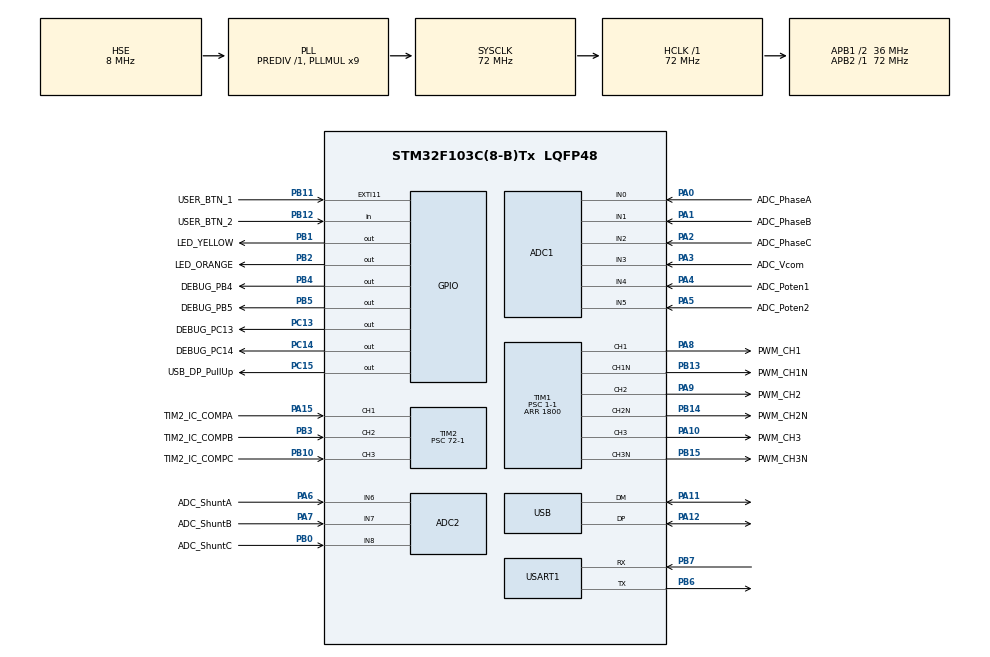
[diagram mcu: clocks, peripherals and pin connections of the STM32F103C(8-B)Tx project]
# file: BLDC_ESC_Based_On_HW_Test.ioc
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ADC1.Channel-10\#ChannelRegularConversion=ADC_CHANNEL_4
ADC1.Channel-11\#ChannelRegularConversion=ADC_CHANNEL_5
ADC1.Channel-17\#ChannelInjectedConversion=ADC_CHANNEL_0
ADC1.Channel-18\#ChannelInjectedConversion=ADC_CHANNEL_1
ADC1.Channel-23\#ChannelInjectedConversion=ADC_CHANNEL_2
ADC1.EnableAnalogWatchDog=false
ADC1.EnableInjectedConversion=ENABLE
ADC1.ExternalTrigInjecConv=ADC_EXTERNALTRIGINJECCONV_T1_TRGO
ADC1.InjNumberOfConversion=3
ADC1.InjectedOffset-17\#ChannelInjectedConversion=0
ADC1.InjectedOffset-18\#ChannelInjectedConversion=0
ADC1.InjectedOffset-23\#ChannelInjectedConversion=0
ADC1.InjectedRank-17\#ChannelInjectedConversion=1
ADC1.InjectedRank-18\#ChannelInjectedConversion=2
ADC1.InjectedRank-23\#ChannelInjectedConversion=3
ADC1.Mode=ADC_DUALMODE_INJECSIMULT
ADC1.NbrOfConversion=2
ADC1.NbrOfConversionFlag=1
ADC1.Rank-10\#ChannelRegularConversion=1
ADC1.Rank-11\#ChannelRegularConversion=2
ADC1.SamplingTime-10\#ChannelRegularConversion=ADC_SAMPLETIME_55CYCLES_5
ADC1.SamplingTime-11\#ChannelRegularConversion=ADC_SAMPLETIME_55CYCLES_5
ADC1.SamplingTime-17\#ChannelInjectedConversion=ADC_SAMPLETIME_1CYCLE_5
ADC1.SamplingTime-18\#ChannelInjectedConversion=ADC_SAMPLETIME_1CYCLE_5
ADC1.SamplingTime-23\#ChannelInjectedConversion=ADC_SAMPLETIME_1CYCLE_5
ADC1.master=1
ADC2.Channel-3\#ChannelInjectedConversion=ADC_CHANNEL_6
ADC2.Channel-4\#ChannelInjectedConversion=ADC_CHANNEL_7
ADC2.Channel-5\#ChannelInjectedConversion=ADC_CHANNEL_8
ADC2.EnableInjectedConversion=ENABLE
ADC2.EnableRegularConversion=DISABLE
ADC2.InjNumberOfConversion=3
ADC2.InjectedOffset-3\#ChannelInjectedConversion=0
ADC2.InjectedOffset-4\#ChannelInjectedConversion=0
ADC2.InjectedOffset-5\#ChannelInjectedConversion=0
ADC2.InjectedRank-3\#ChannelInjectedConversion=1
ADC2.InjectedRank-4\#ChannelInjectedConversion=2
ADC2.InjectedRank-5\#ChannelInjectedConversion=3
ADC2.Mode=ADC_DUALMODE_INJECSIMULT
ADC2.SamplingTime-3\#ChannelInjectedConversion=ADC_SAMPLETIME_1CYCLE_5
ADC2.SamplingTime-4\#ChannelInjectedConversion=ADC_SAMPLETIME_1CYCLE_5
ADC2.SamplingTime-5\#ChannelInjectedConversion=ADC_SAMPLETIME_1CYCLE_5
Dma.ADC1.0.Direction=DMA_PERIPH_TO_MEMORY
Dma.ADC1.0.Instance=DMA1_Channel1
Dma.ADC1.0.MemDataAlignment=DMA_MDATAALIGN_HALFWORD
Dma.ADC1.0.MemInc=DMA_MINC_ENABLE
Dma.ADC1.0.Mode=DMA_CIRCULAR
Dma.ADC1.0.PeriphDataAlignment=DMA_PDATAALIGN_HALFWORD
Dma.ADC1.0.PeriphInc=DMA_PINC_DISABLE
Dma.ADC1.0.Priority=DMA_PRIORITY_LOW
Dma.Request0=ADC1
Mcu.Family=STM32F1
Mcu.Name=STM32F103C(8-B)Tx
Mcu.Package=LQFP48
NVIC.ADC1_2_IRQn=true\:2\:0\:true\:false\:true\:true\:false\:true
NVIC.DMA1_Channel1_IRQn=true\:3\:0\:true\:false\:true\:true\:true\:true
NVIC.EXTI15_10_IRQn=true\:3\:0\:true\:false\:true\:true\:false\:true
NVIC.PriorityGroup=NVIC_PRIORITYGROUP_4
NVIC.TIM1_CC_IRQn=true\:3\:0\:true\:false\:true\:true\:false\:true
NVIC.TIM2_IRQn=true\:1\:0\:true\:false\:true\:true\:false\:true
NVIC.TIM3_IRQn=true\:0\:0\:true\:false\:true\:true\:false\:true
NVIC.TIM4_IRQn=true\:0\:0\:false\:false\:true\:true\:false\:true
NVIC.USART1_IRQn=true\:3\:0\:true\:false\:true\:true\:false\:true
NVIC.USB_LP_CAN1_RX0_IRQn=true\:0\:0\:false\:false\:true\:false\:true\:true
PA0-WKUP.GPIO_Label=ADC_PhaseA
PA0-WKUP.Signal=ADCx_IN0
PA1.GPIO_Label=ADC_PhaseB
PA1.Signal=ADCx_IN1
PA10.GPIO_Label=PWM_CH3
PA10.Signal=S_TIM1_CH3
PA11.Mode=Device
PA11.Signal=USB_DM
PA12.Mode=Device
PA12.Signal=USB_DP
PA13.Mode=Serial_Wire
PA13.Signal=SYS_JTMS-SWDIO
PA14.Mode=Serial_Wire
PA14.Signal=SYS_JTCK-SWCLK
PA15.GPIO_Label=TIM2_IC_COMPA
PA15.Signal=S_TIM2_CH1_ETR
PA2.GPIO_Label=ADC_PhaseC
PA2.Signal=ADCx_IN2
PA3.GPIO_Label=ADC_Vcom
PA3.Signal=ADCx_IN3
PA4.GPIO_Label=ADC_Poten1
PA4.Signal=ADCx_IN4
PA5.GPIO_Label=ADC_Poten2
PA5.Signal=ADCx_IN5
PA6.GPIO_Label=ADC_ShuntA
PA6.Signal=ADCx_IN6
PA7.GPIO_Label=ADC_ShuntB
PA7.Signal=ADCx_IN7
PA8.GPIO_Label=PWM_CH1
PA8.Signal=S_TIM1_CH1
PA9.GPIO_Label=PWM_CH2
PA9.Signal=S_TIM1_CH2
PB0.GPIO_Label=ADC_ShuntC
PB0.Signal=ADCx_IN8
PB1.GPIO_Label=LED_YELLOW
PB1.Signal=GPIO_Output
PB10.GPIO_Label=TIM2_IC_COMPC
PB10.Signal=S_TIM2_CH3
PB11.GPIO_Label=USER_BTN_1
PB11.GPIO_ModeDefaultEXTI=GPIO_MODE_IT_FALLING
PB11.Signal=GPXTI11
PB12.GPIO_Label=USER_BTN_2
PB12.Signal=GPIO_Input
PB13.GPIO_Label=PWM_CH1N
PB13.Mode=PWM Generation1 CH1 CH1N
PB13.Signal=TIM1_CH1N
PB14.GPIO_Label=PWM_CH2N
PB14.Mode=PWM Generation2 CH2 CH2N
PB14.Signal=TIM1_CH2N
PB15.GPIO_Label=PWM_CH3N
PB15.Mode=PWM Generation3 CH3 CH3N
PB15.Signal=TIM1_CH3N
PB2.GPIO_Label=LED_ORANGE
PB2.Signal=GPIO_Output
PB3.GPIO_Label=TIM2_IC_COMPB
PB3.Signal=S_TIM2_CH2
PB4.GPIO_Label=DEBUG_PB4
PB4.Signal=GPIO_Output
PB5.GPIO_Label=DEBUG_PB5
PB5.Signal=GPIO_Output
PB6.Mode=Asynchronous
PB6.Signal=USART1_TX
PB7.Mode=Asynchronous
PB7.Signal=USART1_RX
PC13-TAMPER-RTC.GPIO_Label=DEBUG_PC13
PC13-TAMPER-RTC.Signal=GPIO_Output
PC14-OSC32_IN.GPIO_Label=DEBUG_PC14
PC14-OSC32_IN.Signal=GPIO_Output
PC15-OSC32_OUT.GPIO_Label=USB_DP_PullUp
PC15-OSC32_OUT.Signal=GPIO_Output
PD0-OSC_IN.Mode=HSE-External-Oscillator
PD0-OSC_IN.Signal=RCC_OSC_IN
PD1-OSC_OUT.Mode=HSE-External-Oscillator
PD1-OSC_OUT.Signal=RCC_OSC_OUT
ProjectManager.HeapSize=0x200
ProjectManager.StackSize=0x400
ProjectManager.TargetToolchain=STM32CubeIDE
RCC.ADCPresc=RCC_ADCPCLK2_DIV6
RCC.AHBFreq_Value=72000000
RCC.APB1CLKDivider=RCC_HCLK_DIV2
RCC.APB1Freq_Value=36000000
RCC.APB1TimFreq_Value=72000000
RCC.APB2Freq_Value=72000000
RCC.APB2TimFreq_Value=72000000
RCC.HCLKFreq_Value=72000000
RCC.PLLMUL=RCC_PLL_MUL9
RCC.SYSCLKFreq_VALUE=72000000
RCC.SYSCLKSource=RCC_SYSCLKSOURCE_PLLCLK
RCC.USBFreq_Value=48000000
RCC.USBPrescaler=RCC_USBCLKSOURCE_PLL_DIV1_5
SH.ADCx_IN0.0=ADC1_IN0,IN0
SH.ADCx_IN1.0=ADC1_IN1,IN1
SH.ADCx_IN2.0=ADC1_IN2,IN2
SH.ADCx_IN3.0=ADC1_IN3,IN3
SH.ADCx_IN4.0=ADC1_IN4,IN4
SH.ADCx_IN5.0=ADC1_IN5,IN5
SH.ADCx_IN6.0=ADC2_IN6,IN6
SH.ADCx_IN7.0=ADC2_IN7,IN7
SH.ADCx_IN8.0=ADC2_IN8,IN8
SH.S_TIM1_CH1.0=TIM1_CH1,PWM Generation1 CH1 CH1N
SH.S_TIM1_CH2.0=TIM1_CH2,PWM Generation2 CH2 CH2N
SH.S_TIM1_CH3.0=TIM1_CH3,PWM Generation3 CH3 CH3N
SH.S_TIM2_CH1_ETR.0=TIM2_CH1,Input_Capture1_from_TI1
SH.S_TIM2_CH2.0=TIM2_CH2,Input_Capture2_from_TI2
SH.S_TIM2_CH3.0=TIM2_CH3,Input_Capture3_from_TI3
TIM1.Channel-PWM\ Generation1\ CH1\ CH1N=TIM_CHANNEL_1
TIM1.Channel-PWM\ Generation2\ CH2\ CH2N=TIM_CHANNEL_2
TIM1.Channel-PWM\ Generation3\ CH3\ CH3N=TIM_CHANNEL_3
TIM1.Channel-PWM\ Generation4\ No\ Output=TIM_CHANNEL_4
TIM1.CounterMode=TIM_COUNTERMODE_CENTERALIGNED1
TIM1.DeadTime=144
TIM1.OCMode_PWM-PWM\ Generation4\ No\ Output=TIM_OCMODE_PWM1
TIM1.Period=1800
TIM1.Prescaler=1-1
TIM1.Pulse-PWM\ Generation4\ No\ Output=1
TIM1.TIM_MasterOutputTrigger=TIM_TRGO_OC4REF
TIM2.AutoReloadPreload=TIM_AUTORELOAD_PRELOAD_DISABLE
TIM2.Channel-Input_Capture1_from_TI1=TIM_CHANNEL_1
TIM2.Channel-Input_Capture2_from_TI2=TIM_CHANNEL_2
TIM2.Channel-Input_Capture3_from_TI3=TIM_CHANNEL_3
TIM2.ICFilter_CH1=8
TIM2.ICFilter_CH2=8
TIM2.ICFilter_CH3=8
TIM2.ICPrescaler-Input_Capture1_from_TI1=TIM_ICPSC_DIV1
TIM2.Prescaler=72-1
TIM3.Prescaler=72-1
TIM4.Prescaler=72-1
USART1.VirtualMode=VM_ASYNC
USB_DEVICE.CLASS_NAME_FS=CDC
USB_DEVICE.VirtualMode=Cdc
USB_DEVICE.VirtualModeFS=Cdc_FS
VP_TIM1_VS_ClockSourceINT.Mode=Internal
VP_TIM1_VS_no_output4.Mode=PWM Generation4 No Output
VP_TIM2_VS_ClockSourceINT.Mode=Internal
VP_TIM3_VS_ClockSourceINT.Mode=Internal
VP_TIM4_VS_ClockSourceINT.Mode=Internal
VP_USB_DEVICE_VS_USB_DEVICE_CDC_FS.Mode=CDC_FS
board=custom

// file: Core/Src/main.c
/* USER CODE BEGIN Header */
/**
  ******************************************************************************
  * @file           : main.c
  * @brief          : Main program body
  ******************************************************************************
  * @attention
  *
  * Copyright (c) 2026 STMicroelectronics.
  * All rights reserved.
  *
  * This software is licensed under terms that can be found in the LICENSE file
  * in the root directory of this software component.
  * If no LICENSE file comes with this software, it is provided AS-IS.
  *
  ******************************************************************************
  */
/* USER CODE END Header */
#include "main.h"
#include "usb_device.h"

/* USER CODE BEGIN Includes */
#include <my_Utility/utility_Log_BLDC.h>

#include <layer_0_Driver/driver_ADC_Potentiometer.h>
#include <layer_0_Driver/driver_BLDC_HW.h>
#include <layer_0_Driver/driver_GateDriver.h>
#include <layer_0_Driver/driver_UART.h>

#include <layer_1_Algorithm/algorithm_BLDC_Control.h>
#include <layer_1_Algorithm/algorithm_ADC_Control.h>
#include <layer_1_Algorithm/algorithm_Compartor.h>

#include <layer_2_Service/service_BLDC.h>
#include <layer_2_Service/service_UART.h>
/* USER CODE END Includes */

ADC_HandleTypeDef hadc1;
ADC_HandleTypeDef hadc2;
DMA_HandleTypeDef hdma_adc1;

TIM_HandleTypeDef htim1;
TIM_HandleTypeDef htim2;
TIM_HandleTypeDef htim3;
TIM_HandleTypeDef htim4;

UART_HandleTypeDef huart1;

void SystemClock_Config(void);
static void MX_GPIO_Init(void);
static void MX_DMA_Init(void);
static void MX_TIM1_Init(void);
static void MX_USART1_UART_Init(void);
static void MX_ADC1_Init(void);
static void MX_TIM2_Init(void);
static void MX_TIM3_Init(void);
static void MX_ADC2_Init(void);
static void MX_TIM4_Init(void);

int main(void)
{

  /* MCU Configuration--------------------------------------------------------*/

  /* Reset of all peripherals, Initializes the Flash interface and the Systick. */
  HAL_Init();

  /* Configure the system clock */
  SystemClock_Config();

  /* Initialize all configured peripherals */
  MX_GPIO_Init();
  MX_DMA_Init();
  MX_TIM1_Init();
  MX_USART1_UART_Init();
  MX_ADC1_Init();
  MX_TIM2_Init();
  MX_TIM3_Init();
  MX_ADC2_Init();
  MX_TIM4_Init();
  /* USER CODE BEGIN 2 */
  GPIO_InitTypeDef GPIO_InitStruct = {0};
  __HAL_RCC_GPIOA_CLK_ENABLE();
  GPIO_InitStruct.Pin = GPIO_PIN_12;
  GPIO_InitStruct.Mode = GPIO_MODE_OUTPUT_PP;
  GPIO_InitStruct.Speed = GPIO_SPEED_FREQ_LOW;
  HAL_GPIO_Init(GPIOA, &GPIO_InitStruct);

  HAL_GPIO_WritePin(GPIOA, GPIO_PIN_12, RESET);
  HAL_Delay(100);

  MX_USB_DEVICE_Init();
  HAL_GPIO_DeInit(GPIOA, GPIO_PIN_12);

  // LED 끄기
  HAL_GPIO_WritePin(LED_ORANGE_GPIO_Port, LED_ORANGE_Pin, SET);
  HAL_GPIO_WritePin(LED_YELLOW_GPIO_Port, LED_YELLOW_Pin, SET);

  /* ADC 페리페럴 관련 초기화 */
  HAL_ADCEx_Calibration_Start(&hadc1);
  HAL_ADCEx_Calibration_Start(&hadc2);

  HAL_ADCEx_InjectedStart(&hadc2);
  HAL_ADCEx_InjectedStart_IT(&hadc1);

  Driver_Init_Potentiometer();	//HAL_ADCEx_MultiModeStart_DMA 를 통해, 버퍼주소를 넘겨준다
  Driver_Init_Us_Timer();
  Driver_Init_GateDriver();
  Driver_BLDC_HW_Init();

  Algo_BLDC_Init();
  Robust_Static_Init(220);
  Init_Comparator();

  Create_LogRingBuffer();

  Service_BLDC_Init();
  Service_Init_UART();

  HAL_NVIC_SetPriority(USB_LP_CAN1_RX0_IRQn, 3, 0);

  HAL_Delay(30);
  /* USER CODE END 2 */

  /* Infinite loop */
  while (1)
  {

    /* USER CODE BEGIN 3 */
	//Service_UART_RunCLI();
 	Service_BLDC_Run();
 	Service_Telemetry_Run();
 	Polling_Conversion_Target();

  }
  /* USER CODE END 3 */
}

void SystemClock_Config(void)
{
  RCC_OscInitTypeDef RCC_OscInitStruct = {0};
  RCC_ClkInitTypeDef RCC_ClkInitStruct = {0};
  RCC_PeriphCLKInitTypeDef PeriphClkInit = {0};

  /** Initializes the RCC Oscillators according to the specified parameters
  * in the RCC_OscInitTypeDef structure.
  */
  RCC_OscInitStruct.OscillatorType = RCC_OSCILLATORTYPE_HSE;
  RCC_OscInitStruct.HSEState = RCC_HSE_ON;
  RCC_OscInitStruct.HSEPredivValue = RCC_HSE_PREDIV_DIV1;
  RCC_OscInitStruct.HSIState = RCC_HSI_ON;
  RCC_OscInitStruct.PLL.PLLState = RCC_PLL_ON;
  RCC_OscInitStruct.PLL.PLLSource = RCC_PLLSOURCE_HSE;
  RCC_OscInitStruct.PLL.PLLMUL = RCC_PLL_MUL9;
  if (HAL_RCC_OscConfig(&RCC_OscInitStruct) != HAL_OK)
  {
    Error_Handler();
  }

  /** Initializes the CPU, AHB and APB buses clocks
  */
  RCC_ClkInitStruct.ClockType = RCC_CLOCKTYPE_HCLK|RCC_CLOCKTYPE_SYSCLK
                              |RCC_CLOCKTYPE_PCLK1|RCC_CLOCKTYPE_PCLK2;
  RCC_ClkInitStruct.SYSCLKSource = RCC_SYSCLKSOURCE_PLLCLK;
  RCC_ClkInitStruct.AHBCLKDivider = RCC_SYSCLK_DIV1;
  RCC_ClkInitStruct.APB1CLKDivider = RCC_HCLK_DIV2;
  RCC_ClkInitStruct.APB2CLKDivider = RCC_HCLK_DIV1;

  if (HAL_RCC_ClockConfig(&RCC_ClkInitStruct, FLASH_LATENCY_2) != HAL_OK)
  {
    Error_Handler();
  }
  PeriphClkInit.PeriphClockSelection = RCC_PERIPHCLK_ADC|RCC_PERIPHCLK_USB;
  PeriphClkInit.AdcClockSelection = RCC_ADCPCLK2_DIV6;
  PeriphClkInit.UsbClockSelection = RCC_USBCLKSOURCE_PLL_DIV1_5;
  if (HAL_RCCEx_PeriphCLKConfig(&PeriphClkInit) != HAL_OK)
  {
    Error_Handler();
  }
}

static void MX_ADC1_Init(void)
{

  ADC_MultiModeTypeDef multimode = {0};
  ADC_ChannelConfTypeDef sConfig = {0};
  ADC_InjectionConfTypeDef sConfigInjected = {0};

  /** Common config
  */
  hadc1.Instance = ADC1;
  hadc1.Init.ScanConvMode = ADC_SCAN_ENABLE;
  hadc1.Init.ContinuousConvMode = DISABLE;
  hadc1.Init.DiscontinuousConvMode = DISABLE;
  hadc1.Init.ExternalTrigConv = ADC_SOFTWARE_START;
  hadc1.Init.DataAlign = ADC_DATAALIGN_RIGHT;
  hadc1.Init.NbrOfConversion = 2;
  if (HAL_ADC_Init(&hadc1) != HAL_OK)
  {
    Error_Handler();
  }

  /** Configure the ADC multi-mode
  */
  multimode.Mode = ADC_DUALMODE_INJECSIMULT;
  if (HAL_ADCEx_MultiModeConfigChannel(&hadc1, &multimode) != HAL_OK)
  {
    Error_Handler();
  }

  /** Configure Regular Channel
  */
  sConfig.Channel = ADC_CHANNEL_4;
  sConfig.Rank = ADC_REGULAR_RANK_1;
  sConfig.SamplingTime = ADC_SAMPLETIME_55CYCLES_5;
  if (HAL_ADC_ConfigChannel(&hadc1, &sConfig) != HAL_OK)
  {
    Error_Handler();
  }

  /** Configure Regular Channel
  */
  sConfig.Channel = ADC_CHANNEL_5;
  sConfig.Rank = ADC_REGULAR_RANK_2;
  if (HAL_ADC_ConfigChannel(&hadc1, &sConfig) != HAL_OK)
  {
    Error_Handler();
  }

  /** Configure Injected Channel
  */
  sConfigInjected.InjectedChannel = ADC_CHANNEL_0;
  sConfigInjected.InjectedRank = ADC_INJECTED_RANK_1;
  sConfigInjected.InjectedNbrOfConversion = 3;
  sConfigInjected.InjectedSamplingTime = ADC_SAMPLETIME_1CYCLE_5;
  sConfigInjected.ExternalTrigInjecConv = ADC_EXTERNALTRIGINJECCONV_T1_TRGO;
  sConfigInjected.AutoInjectedConv = DISABLE;
  sConfigInjected.InjectedDiscontinuousConvMode = DISABLE;
  sConfigInjected.InjectedOffset = 0;
  if (HAL_ADCEx_InjectedConfigChannel(&hadc1, &sConfigInjected) != HAL_OK)
  {
    Error_Handler();
  }

  /** Configure Injected Channel
  */
  sConfigInjected.InjectedChannel = ADC_CHANNEL_1;
  sConfigInjected.InjectedRank = ADC_INJECTED_RANK_2;
  if (HAL_ADCEx_InjectedConfigChannel(&hadc1, &sConfigInjected) != HAL_OK)
  {
    Error_Handler();
  }

  /** Configure Injected Channel
  */
  sConfigInjected.InjectedChannel = ADC_CHANNEL_2;
  sConfigInjected.InjectedRank = ADC_INJECTED_RANK_3;
  if (HAL_ADCEx_InjectedConfigChannel(&hadc1, &sConfigInjected) != HAL_OK)
  {
    Error_Handler();
  }

}

static void MX_ADC2_Init(void)
{

  ADC_InjectionConfTypeDef sConfigInjected = {0};

  /** Common config
  */
  hadc2.Instance = ADC2;
  hadc2.Init.ScanConvMode = ADC_SCAN_ENABLE;
  hadc2.Init.ContinuousConvMode = DISABLE;
  hadc2.Init.DiscontinuousConvMode = DISABLE;
  hadc2.Init.ExternalTrigConv = ADC_SOFTWARE_START;
  hadc2.Init.DataAlign = ADC_DATAALIGN_RIGHT;
  hadc2.Init.NbrOfConversion = 1;
  if (HAL_ADC_Init(&hadc2) != HAL_OK)
  {
    Error_Handler();
  }

  /** Configure Injected Channel
  */
  sConfigInjected.InjectedChannel = ADC_CHANNEL_6;
  sConfigInjected.InjectedRank = ADC_INJECTED_RANK_1;
  sConfigInjected.InjectedNbrOfConversion = 3;
  sConfigInjected.InjectedSamplingTime = ADC_SAMPLETIME_1CYCLE_5;
  sConfigInjected.AutoInjectedConv = DISABLE;
  sConfigInjected.InjectedDiscontinuousConvMode = DISABLE;
  sConfigInjected.InjectedOffset = 0;
  if (HAL_ADCEx_InjectedConfigChannel(&hadc2, &sConfigInjected) != HAL_OK)
  {
    Error_Handler();
  }

  /** Configure Injected Channel
  */
  sConfigInjected.InjectedChannel = ADC_CHANNEL_7;
  sConfigInjected.InjectedRank = ADC_INJECTED_RANK_2;
  if (HAL_ADCEx_InjectedConfigChannel(&hadc2, &sConfigInjected) != HAL_OK)
  {
    Error_Handler();
  }

  /** Configure Injected Channel
  */
  sConfigInjected.InjectedChannel = ADC_CHANNEL_8;
  sConfigInjected.InjectedRank = ADC_INJECTED_RANK_3;
  if (HAL_ADCEx_InjectedConfigChannel(&hadc2, &sConfigInjected) != HAL_OK)
  {
    Error_Handler();
  }

}

static void MX_TIM1_Init(void)
{

  TIM_ClockConfigTypeDef sClockSourceConfig = {0};
  TIM_MasterConfigTypeDef sMasterConfig = {0};
  TIM_OC_InitTypeDef sConfigOC = {0};
  TIM_BreakDeadTimeConfigTypeDef sBreakDeadTimeConfig = {0};

  htim1.Instance = TIM1;
  htim1.Init.Prescaler = 1-1;
  htim1.Init.CounterMode = TIM_COUNTERMODE_CENTERALIGNED1;
  htim1.Init.Period = 1800;
  htim1.Init.ClockDivision = TIM_CLOCKDIVISION_DIV1;
  htim1.Init.RepetitionCounter = 0;
  htim1.Init.AutoReloadPreload = TIM_AUTORELOAD_PRELOAD_DISABLE;
  if (HAL_TIM_Base_Init(&htim1) != HAL_OK)
  {
    Error_Handler();
  }
  sClockSourceConfig.ClockSource = TIM_CLOCKSOURCE_INTERNAL;
  if (HAL_TIM_ConfigClockSource(&htim1, &sClockSourceConfig) != HAL_OK)
  {
    Error_Handler();
  }
  if (HAL_TIM_PWM_Init(&htim1) != HAL_OK)
  {
    Error_Handler();
  }
  sMasterConfig.MasterOutputTrigger = TIM_TRGO_OC4REF;
  sMasterConfig.MasterSlaveMode = TIM_MASTERSLAVEMODE_DISABLE;
  if (HAL_TIMEx_MasterConfigSynchronization(&htim1, &sMasterConfig) != HAL_OK)
  {
    Error_Handler();
  }
  sConfigOC.OCMode = TIM_OCMODE_PWM1;
  sConfigOC.Pulse = 0;
  sConfigOC.OCPolarity = TIM_OCPOLARITY_HIGH;
  sConfigOC.OCNPolarity = TIM_OCNPOLARITY_HIGH;
  sConfigOC.OCFastMode = TIM_OCFAST_DISABLE;
  sConfigOC.OCIdleState = TIM_OCIDLESTATE_RESET;
  sConfigOC.OCNIdleState = TIM_OCNIDLESTATE_RESET;
  if (HAL_TIM_PWM_ConfigChannel(&htim1, &sConfigOC, TIM_CHANNEL_1) != HAL_OK)
  {
    Error_Handler();
  }
  if (HAL_TIM_PWM_ConfigChannel(&htim1, &sConfigOC, TIM_CHANNEL_2) != HAL_OK)
  {
    Error_Handler();
  }
  if (HAL_TIM_PWM_ConfigChannel(&htim1, &sConfigOC, TIM_CHANNEL_3) != HAL_OK)
  {
    Error_Handler();
  }
  sConfigOC.Pulse = 1;
  if (HAL_TIM_PWM_ConfigChannel(&htim1, &sConfigOC, TIM_CHANNEL_4) != HAL_OK)
  {
    Error_Handler();
  }
  sBreakDeadTimeConfig.OffStateRunMode = TIM_OSSR_DISABLE;
  sBreakDeadTimeConfig.OffStateIDLEMode = TIM_OSSI_DISABLE;
  sBreakDeadTimeConfig.LockLevel = TIM_LOCKLEVEL_OFF;
  sBreakDeadTimeConfig.DeadTime = 144;
  sBreakDeadTimeConfig.BreakState = TIM_BREAK_DISABLE;
  sBreakDeadTimeConfig.BreakPolarity = TIM_BREAKPOLARITY_HIGH;
  sBreakDeadTimeConfig.AutomaticOutput = TIM_AUTOMATICOUTPUT_DISABLE;
  if (HAL_TIMEx_ConfigBreakDeadTime(&htim1, &sBreakDeadTimeConfig) != HAL_OK)
  {
    Error_Handler();
  }
  HAL_TIM_MspPostInit(&htim1);

}

static void MX_TIM2_Init(void)
{

  TIM_ClockConfigTypeDef sClockSourceConfig = {0};
  TIM_MasterConfigTypeDef sMasterConfig = {0};
  TIM_IC_InitTypeDef sConfigIC = {0};

  htim2.Instance = TIM2;
  htim2.Init.Prescaler = 72-1;
  htim2.Init.CounterMode = TIM_COUNTERMODE_UP;
  htim2.Init.Period = 65535;
  htim2.Init.ClockDivision = TIM_CLOCKDIVISION_DIV1;
  htim2.Init.AutoReloadPreload = TIM_AUTORELOAD_PRELOAD_DISABLE;
  if (HAL_TIM_Base_Init(&htim2) != HAL_OK)
  {
    Error_Handler();
  }
  sClockSourceConfig.ClockSource = TIM_CLOCKSOURCE_INTERNAL;
  if (HAL_TIM_ConfigClockSource(&htim2, &sClockSourceConfig) != HAL_OK)
  {
    Error_Handler();
  }
  if (HAL_TIM_IC_Init(&htim2) != HAL_OK)
  {
    Error_Handler();
  }
  sMasterConfig.MasterOutputTrigger = TIM_TRGO_RESET;
  sMasterConfig.MasterSlaveMode = TIM_MASTERSLAVEMODE_DISABLE;
  if (HAL_TIMEx_MasterConfigSynchronization(&htim2, &sMasterConfig) != HAL_OK)
  {
    Error_Handler();
  }
  sConfigIC.ICPolarity = TIM_INPUTCHANNELPOLARITY_RISING;
  sConfigIC.ICSelection = TIM_ICSELECTION_DIRECTTI;
  sConfigIC.ICPrescaler = TIM_ICPSC_DIV1;
  sConfigIC.ICFilter = 8;
  if (HAL_TIM_IC_ConfigChannel(&htim2, &sConfigIC, TIM_CHANNEL_1) != HAL_OK)
  {
    Error_Handler();
  }
  if (HAL_TIM_IC_ConfigChannel(&htim2, &sConfigIC, TIM_CHANNEL_2) != HAL_OK)
  {
    Error_Handler();
  }
  if (HAL_TIM_IC_ConfigChannel(&htim2, &sConfigIC, TIM_CHANNEL_3) != HAL_OK)
  {
    Error_Handler();
  }

}

static void MX_TIM3_Init(void)
{

  TIM_ClockConfigTypeDef sClockSourceConfig = {0};
  TIM_MasterConfigTypeDef sMasterConfig = {0};

  htim3.Instance = TIM3;
  htim3.Init.Prescaler = 72-1;
  htim3.Init.CounterMode = TIM_COUNTERMODE_UP;
  htim3.Init.Period = 65535;
  htim3.Init.ClockDivision = TIM_CLOCKDIVISION_DIV1;
  htim3.Init.AutoReloadPreload = TIM_AUTORELOAD_PRELOAD_DISABLE;
  if (HAL_TIM_Base_Init(&htim3) != HAL_OK)
  {
    Error_Handler();
  }
  sClockSourceConfig.ClockSource = TIM_CLOCKSOURCE_INTERNAL;
  if (HAL_TIM_ConfigClockSource(&htim3, &sClockSourceConfig) != HAL_OK)
  {
    Error_Handler();
  }
  sMasterConfig.MasterOutputTrigger = TIM_TRGO_RESET;
  sMasterConfig.MasterSlaveMode = TIM_MASTERSLAVEMODE_DISABLE;
  if (HAL_TIMEx_MasterConfigSynchronization(&htim3, &sMasterConfig) != HAL_OK)
  {
    Error_Handler();
  }

}

static void MX_TIM4_Init(void)
{

  TIM_ClockConfigTypeDef sClockSourceConfig = {0};
  TIM_MasterConfigTypeDef sMasterConfig = {0};

  htim4.Instance = TIM4;
  htim4.Init.Prescaler = 72-1;
  htim4.Init.CounterMode = TIM_COUNTERMODE_UP;
  htim4.Init.Period = 65535;
  htim4.Init.ClockDivision = TIM_CLOCKDIVISION_DIV1;
  htim4.Init.AutoReloadPreload = TIM_AUTORELOAD_PRELOAD_DISABLE;
  if (HAL_TIM_Base_Init(&htim4) != HAL_OK)
  {
    Error_Handler();
  }
  sClockSourceConfig.ClockSource = TIM_CLOCKSOURCE_INTERNAL;
  if (HAL_TIM_ConfigClockSource(&htim4, &sClockSourceConfig) != HAL_OK)
  {
    Error_Handler();
  }
  sMasterConfig.MasterOutputTrigger = TIM_TRGO_RESET;
  sMasterConfig.MasterSlaveMode = TIM_MASTERSLAVEMODE_DISABLE;
  if (HAL_TIMEx_MasterConfigSynchronization(&htim4, &sMasterConfig) != HAL_OK)
  {
    Error_Handler();
  }

}

static void MX_USART1_UART_Init(void)
{

  huart1.Instance = USART1;
  huart1.Init.BaudRate = 115200;
  huart1.Init.WordLength = UART_WORDLENGTH_8B;
  huart1.Init.StopBits = UART_STOPBITS_1;
  huart1.Init.Parity = UART_PARITY_NONE;
  huart1.Init.Mode = UART_MODE_TX_RX;
  huart1.Init.HwFlowCtl = UART_HWCONTROL_NONE;
  huart1.Init.OverSampling = UART_OVERSAMPLING_16;
  if (HAL_UART_Init(&huart1) != HAL_OK)
  {
    Error_Handler();
  }

}

static void MX_DMA_Init(void)
{

  /* DMA controller clock enable */
  __HAL_RCC_DMA1_CLK_ENABLE();

  /* DMA interrupt init */
  /* DMA1_Channel1_IRQn interrupt configuration */
  HAL_NVIC_SetPriority(DMA1_Channel1_IRQn, 3, 0);
  HAL_NVIC_EnableIRQ(DMA1_Channel1_IRQn);

}

static void MX_GPIO_Init(void)
{
  GPIO_InitTypeDef GPIO_InitStruct = {0};

  /* GPIO Ports Clock Enable */
  __HAL_RCC_GPIOC_CLK_ENABLE();
  __HAL_RCC_GPIOD_CLK_ENABLE();
  __HAL_RCC_GPIOA_CLK_ENABLE();
  __HAL_RCC_GPIOB_CLK_ENABLE();

  /*Configure GPIO pin Output Level */
  HAL_GPIO_WritePin(GPIOC, DEBUG_PC13_Pin|DEBUG_PC14_Pin|USB_DP_PullUp_Pin, GPIO_PIN_RESET);

  /*Configure GPIO pin Output Level */
  HAL_GPIO_WritePin(GPIOB, LED_YELLOW_Pin|LED_ORANGE_Pin|DEBUG_PB4_Pin|DEBUG_PB5_Pin, GPIO_PIN_RESET);

  /*Configure GPIO pins : DEBUG_PC13_Pin DEBUG_PC14_Pin USB_DP_PullUp_Pin */
  GPIO_InitStruct.Pin = DEBUG_PC13_Pin|DEBUG_PC14_Pin|USB_DP_PullUp_Pin;
  GPIO_InitStruct.Mode = GPIO_MODE_OUTPUT_PP;
  GPIO_InitStruct.Pull = GPIO_NOPULL;
  GPIO_InitStruct.Speed = GPIO_SPEED_FREQ_LOW;
  HAL_GPIO_Init(GPIOC, &GPIO_InitStruct);

  /*Configure GPIO pins : LED_YELLOW_Pin LED_ORANGE_Pin DEBUG_PB4_Pin DEBUG_PB5_Pin */
  GPIO_InitStruct.Pin = LED_YELLOW_Pin|LED_ORANGE_Pin|DEBUG_PB4_Pin|DEBUG_PB5_Pin;
  GPIO_InitStruct.Mode = GPIO_MODE_OUTPUT_PP;
  GPIO_InitStruct.Pull = GPIO_NOPULL;
  GPIO_InitStruct.Speed = GPIO_SPEED_FREQ_LOW;
  HAL_GPIO_Init(GPIOB, &GPIO_InitStruct);

  /*Configure GPIO pin : USER_BTN_1_Pin */
  GPIO_InitStruct.Pin = USER_BTN_1_Pin;
  GPIO_InitStruct.Mode = GPIO_MODE_IT_FALLING;
  GPIO_InitStruct.Pull = GPIO_NOPULL;
  HAL_GPIO_Init(USER_BTN_1_GPIO_Port, &GPIO_InitStruct);

  /*Configure GPIO pin : USER_BTN_2_Pin */
  GPIO_InitStruct.Pin = USER_BTN_2_Pin;
  GPIO_InitStruct.Mode = GPIO_MODE_INPUT;
  GPIO_InitStruct.Pull = GPIO_NOPULL;
  HAL_GPIO_Init(USER_BTN_2_GPIO_Port, &GPIO_InitStruct);

  /* EXTI interrupt init*/
  HAL_NVIC_SetPriority(EXTI15_10_IRQn, 3, 0);
  HAL_NVIC_EnableIRQ(EXTI15_10_IRQn);

}

void Error_Handler(void)
{
  __disable_irq();
  while (1)
  {
  }
}
